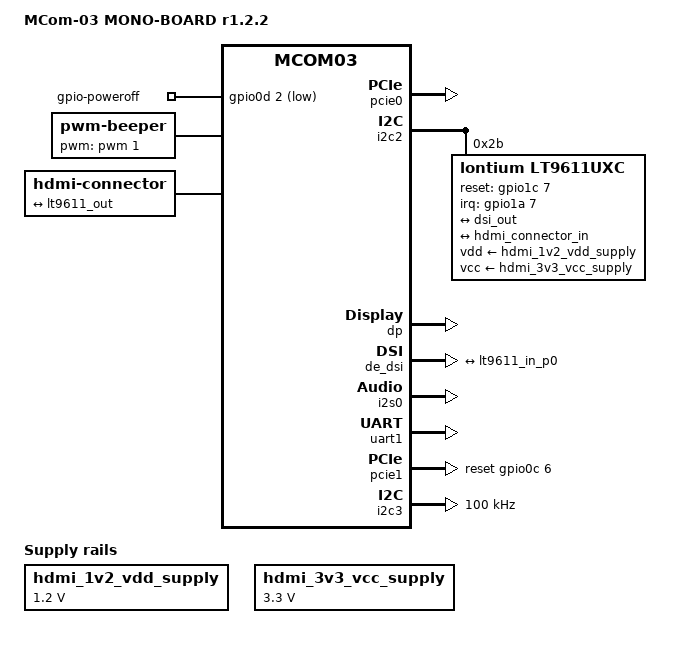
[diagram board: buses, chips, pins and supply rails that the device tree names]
// SPDX-License-Identifier: GPL-2.0+
// Copyright 2024 RnD Center "ELVEES", JSC

/dts-v1/;

#include "mcom03-monoboard-r1.1.1.dts"

/ {
	model = "MCom-03 MONO-BOARD r1.2.2";
	compatible = "elvees,monoboard-r1.2.2",
		     "elvees,monoboard",
		     "elvees,mcom03";

	gpio-poweroff {
		compatible = "gpio-poweroff";
		gpios = <&gpio0d 2 GPIO_ACTIVE_LOW>;
		timeout-ms = <1000>;
	};

	beeper {
		compatible = "pwm-beeper";
		pwms = <&pwm 1 1000000 0>;
	};

	hdmi_1v2_vdd_supply: regulator@0 {
		compatible = "regulator-fixed";
		regulator-name = "hdmi-vdd-1.2v";
		regulator-min-microvolt = <1200000>;
		regulator-max-microvolt = <1200000>;
		regulator-always-on;
	};

	hdmi_3v3_vcc_supply: regulator@1 {
		compatible = "regulator-fixed";
		regulator-name = "hdmi-vcc-3.3v";
		regulator-min-microvolt = <3300000>;
		regulator-max-microvolt = <3300000>;
		regulator-always-on;
	};

	hdmi_connector: hdmi-connector {
		compatible = "hdmi-connector";
		label = "hdmi";
		type = "a";

		port {
			hdmi_connector_in: endpoint {
				remote-endpoint = <&lt9611_out>;
			};
		};
	};

	hdmi_sound: hdmi-sound {
		compatible = "simple-audio-card";
		simple-audio-card,name = "hdmi-audio";
		simple-audio-card,format = "i2s";
		simple-audio-card,bitclock-master = <&dailink0_master>;
		simple-audio-card,frame-master = <&dailink0_master>;
		status = "ok";

		dailink0_master: simple-audio-card,cpu {
			sound-dai = <&i2s0>;
		};

		simple-audio-card,codec {
			sound-dai = <&lt9611uxc>;
		};
	};
};

&pwm {
	elvees,output-channel = <0 1 0 0>;
	elvees,state-on-disable = <1 1 0 0>;
	pinctrl-0 = <&pwm_oena0_mux &pwm_oenb1_mux>;
};

&gpio0b {
	gpio-line-names = "SER1_RX", "SER1_TX", "UART_WAKE#", "nRST_MIPI_LVDS",
		"EMMc_nRST", "SER3_RX", "SER3_TX", "";
};

&gpio0c {
	gpio-line-names = "nRST_ETH0", "nRST_ETH1", "LVDS_nDETECT", "SPIO_SS_IN",
		"LVDS_ENBKL", "PCIeSATA_nRST", "PCIE_A_nRST", "SDR_h1v8-l1v5";
};

&gpio0d {
	gpio-line-names = "GPIO1", "GPIO2", "nBOARD_SHDWN", "GPIO7", "GPIO3",
		"GPIO4", "GPIO5", "GPIO6";
};

&gpio1c {
	gpio-line-names = "DP_CONV_nRST", "OE_MUX", "HDMI_SPLIT_nRST",
		"SD_BRIDGE_RST", "SDIO_RESET#", "TYPEC_ID", "TYPEC_INT", "nRST_HDMI";
};

&gpio1d {
	gpio-line-names = "", "LVDS_BL_PWM", "FAN_PWM", "GPIO10",
		"", "PC_SPEAKER", "", "GPIO8";
};

sata: &pcie0 {
	status = "okay";
};

&i2c2 {
	lt9611uxc: hdmi-bridge@2b {
		status = "okay";

		lontium,dsi-mode-video-burst;
		lontium,dsi-clock-non-continuous;

		compatible = "lontium,lt9611uxc";
		reg = <0x2b>;

		vdd-supply = <&hdmi_1v2_vdd_supply>;
		vcc-supply = <&hdmi_3v3_vcc_supply>;
		#sound-dai-cells = <0>;

		reset-gpios = <&gpio1c 7 GPIO_ACTIVE_HIGH>;
		interrupts-extended = <&gpio1a 7 IRQ_TYPE_EDGE_FALLING>;

		pinctrl-names = "default";
		pinctrl-0 = <&lt9611uxc_int>;

		ports {
			#address-cells = <1>;
			#size-cells = <0>;
			port@0 {
				reg = <0>;
				lt9611_in_p0: endpoint {
					remote-endpoint = <&dsi_out>;
				};
			};
			port@2 {
				reg = <2>;
				lt9611_out: endpoint {
					remote-endpoint = <&hdmi_connector_in>;
				};
			};
		};
	};
};

&dp {
	status = "okay";

	// For fine pixel clocks
	assigned-clocks = <&media_clocks CLK_MEDIA_PLL1>,
			  <&media_clocks CLK_MEDIA_UCG1_DISP_A>,
			  <&media_clocks CLK_MEDIA_UCG1_DISP_M>;
	assigned-clock-rates = <2376000000 594000000 297000000>;
};

&de_dsi {
	status = "okay";

	dsi-min-clock-frequency = <275000000>;

	ports {
		port@1 {
			reg = <1>;
			dsi_out: endpoint {
				remote-endpoint = <&lt9611_in_p0>;
			};
		};
	};
};

&lsperiph1_pinctrl {
	lt9611uxc_int: lt9611uxc-int {
		pins = "GPIOA_7";
		input-enable;
	};
};

&i2s0 {
	status = "okay";

	pinctrl-names = "default";
	// GPIO1_B4(I2S0_SDIO) is used by LVDS_BL_nEN
	pinctrl-0 = <&i2s0_default_cfg &i2s0_mux_sdo0>;
};

&uart1 {
	status = "okay";
};

&pcie1 {
	status = "okay";

	reset-gpio = <&gpio0c 6 GPIO_ACTIVE_HIGH>;
};

&i2c3 {
	status = "okay";

	// must be safe for unknown devices
	clock-frequency = <100000>;
};
